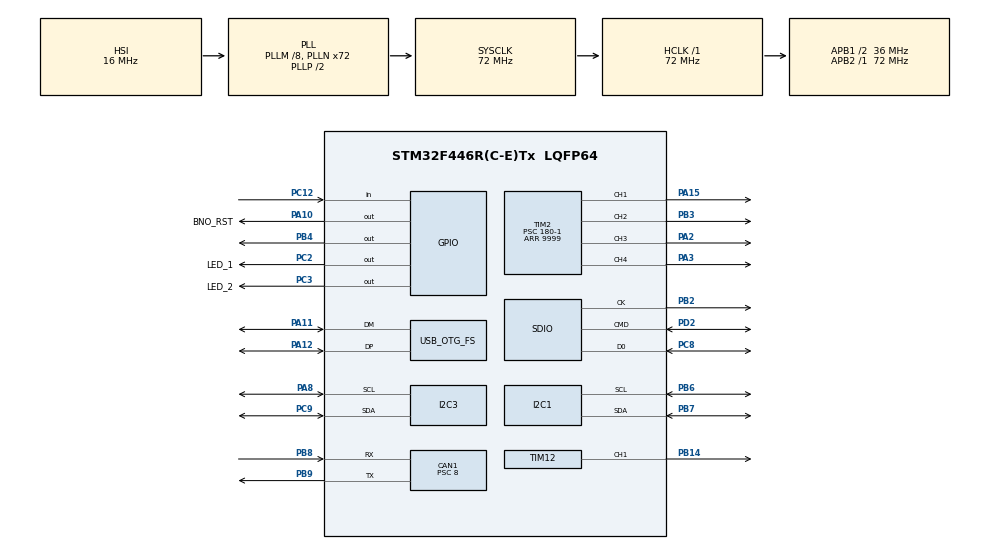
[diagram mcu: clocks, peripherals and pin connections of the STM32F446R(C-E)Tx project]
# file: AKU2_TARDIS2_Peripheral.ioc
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CAN1.BS2=CAN_BS2_7TQ
CAN1.CalculateBaudRate=500000
CAN1.CalculateTimeBit=2000
CAN1.CalculateTimeQuantum=222.22222222222223
CAN1.Mode=CAN_MODE_NORMAL
CAN1.Prescaler=8
Dma.Request0=SDIO_RX
Dma.Request1=SDIO_TX
Dma.SDIO_RX.0.Direction=DMA_PERIPH_TO_MEMORY
Dma.SDIO_RX.0.FIFOMode=DMA_FIFOMODE_ENABLE
Dma.SDIO_RX.0.FIFOThreshold=DMA_FIFO_THRESHOLD_FULL
Dma.SDIO_RX.0.Instance=DMA2_Stream3
Dma.SDIO_RX.0.MemBurst=DMA_MBURST_INC4
Dma.SDIO_RX.0.MemDataAlignment=DMA_MDATAALIGN_WORD
Dma.SDIO_RX.0.MemInc=DMA_MINC_ENABLE
Dma.SDIO_RX.0.Mode=DMA_PFCTRL
Dma.SDIO_RX.0.PeriphBurst=DMA_PBURST_INC4
Dma.SDIO_RX.0.PeriphDataAlignment=DMA_PDATAALIGN_WORD
Dma.SDIO_RX.0.PeriphInc=DMA_PINC_DISABLE
Dma.SDIO_RX.0.Priority=DMA_PRIORITY_HIGH
Dma.SDIO_TX.1.Direction=DMA_MEMORY_TO_PERIPH
Dma.SDIO_TX.1.FIFOMode=DMA_FIFOMODE_ENABLE
Dma.SDIO_TX.1.FIFOThreshold=DMA_FIFO_THRESHOLD_FULL
Dma.SDIO_TX.1.Instance=DMA2_Stream6
Dma.SDIO_TX.1.MemBurst=DMA_MBURST_INC4
Dma.SDIO_TX.1.MemDataAlignment=DMA_MDATAALIGN_WORD
Dma.SDIO_TX.1.MemInc=DMA_MINC_ENABLE
Dma.SDIO_TX.1.Mode=DMA_PFCTRL
Dma.SDIO_TX.1.PeriphBurst=DMA_PBURST_INC4
Dma.SDIO_TX.1.PeriphDataAlignment=DMA_PDATAALIGN_WORD
Dma.SDIO_TX.1.PeriphInc=DMA_PINC_DISABLE
Dma.SDIO_TX.1.Priority=DMA_PRIORITY_HIGH
FATFS.BSP.number=1
FATFS._MAX_SS=4096
FATFS._USE_LFN=2
FATFS0.BSP.STBoard=false
FATFS0.BSP.api=Unknown
FATFS0.BSP.instance=PC12
FATFS0.BSP.ip=GPIO
FATFS0.BSP.mode=Input
FATFS0.BSP.name=Detect_SDIO
FATFS0.BSP.solution=PC12
FREERTOS.Tasks01=Data_Read_Task,2,512,Data_Read_Task_Entry,Default,NULL,Dynamic,NULL,NULL;Led_Task,-2,512,Led_Task_Entry,Default,NULL,Dynamic,NULL,NULL;USB_Task,0,512,USB_Task_Entry,Default,NULL,Dynamic,NULL,NULL;Servo_Control_T,2,128,Servo_Control_Task_Entry,Default,NULL,Dynamic,NULL,NULL;Buzzer_Task,-3,128,Buzzer_Task_Entry,Default,NULL,Dynamic,NULL,NULL;Data_Log_Task,0,2048,Data_Log_Task_Entry,Default,NULL,Dynamic,NULL,NULL
FREERTOS.configTOTAL_HEAP_SIZE=30000
FREERTOS.configUSE_NEWLIB_REENTRANT=1
Mcu.Family=STM32F4
Mcu.Name=STM32F446R(C-E)Tx
Mcu.Package=LQFP64
NVIC.CAN1_RX0_IRQn=true\:5\:0\:false\:false\:true\:true\:true\:true\:true
NVIC.CAN1_RX1_IRQn=true\:5\:0\:false\:false\:true\:true\:true\:true\:true
NVIC.CAN1_SCE_IRQn=true\:5\:0\:false\:false\:true\:true\:true\:true\:true
NVIC.CAN1_TX_IRQn=true\:5\:0\:false\:false\:true\:true\:true\:true\:true
NVIC.DMA2_Stream3_IRQn=true\:5\:0\:false\:false\:true\:true\:false\:true\:true
NVIC.DMA2_Stream6_IRQn=true\:5\:0\:false\:false\:true\:true\:false\:true\:true
NVIC.OTG_FS_IRQn=true\:5\:0\:false\:false\:true\:true\:false\:true\:true
NVIC.PriorityGroup=NVIC_PRIORITYGROUP_4
NVIC.SDIO_IRQn=true\:5\:0\:false\:false\:true\:true\:true\:true\:true
NVIC.TIM1_UP_TIM10_IRQn=true\:15\:0\:false\:false\:true\:false\:false\:true\:true
NVIC.TimeBase=TIM1_UP_TIM10_IRQn
NVIC.TimeBaseIP=TIM1
PA10.GPIO_Label=BNO_RST
PA10.GPIO_PuPd=GPIO_PULLUP
PA10.PinState=GPIO_PIN_RESET
PA10.Signal=GPIO_Output
PA11.Mode=Device_Only
PA11.Signal=USB_OTG_FS_DM
PA12.Mode=Device_Only
PA12.Signal=USB_OTG_FS_DP
PA13.GPIO_Label=TMS
PA13.Mode=Serial_Wire
PA13.Signal=SYS_JTMS-SWDIO
PA14.GPIO_Label=TCK
PA14.Mode=Serial_Wire
PA14.Signal=SYS_JTCK-SWCLK
PA15.Signal=S_TIM2_CH1_ETR
PA2.Signal=S_TIM2_CH3
PA3.Signal=S_TIM2_CH4
PA8.Mode=I2C
PA8.Signal=I2C3_SCL
PB14.Signal=S_TIM12_CH1
PB2.Mode=SD_1_bit
PB2.Signal=SDIO_CK
PB3.Signal=S_TIM2_CH2
PB4.Signal=GPIO_Output
PB6.Mode=I2C
PB6.Signal=I2C1_SCL
PB7.Mode=I2C
PB7.Signal=I2C1_SDA
PB8.Mode=CAN_Activate
PB8.Signal=CAN1_RX
PB9.Mode=CAN_Activate
PB9.Signal=CAN1_TX
PC12.GPIO_PuPd=GPIO_PULLDOWN
PC12.Signal=GPIO_Input
PC2.GPIO_Label=LED_1
PC2.Signal=GPIO_Output
PC3.GPIO_Label=LED_2
PC3.Signal=GPIO_Output
PC8.Mode=SD_1_bit
PC8.Signal=SDIO_D0
PC9.Mode=I2C
PC9.Signal=I2C3_SDA
PD2.Mode=SD_1_bit
PD2.Signal=SDIO_CMD
ProjectManager.HeapSize=0x200
ProjectManager.StackSize=0x400
ProjectManager.TargetToolchain=STM32CubeIDE
RCC.48MHZClocksFreq_Value=84000000
RCC.AHBFreq_Value=72000000
RCC.APB1CLKDivider=RCC_HCLK_DIV2
RCC.APB1Freq_Value=36000000
RCC.APB1TimFreq_Value=72000000
RCC.APB2Freq_Value=72000000
RCC.APB2TimFreq_Value=72000000
RCC.CortexFreq_Value=72000000
RCC.FLatency-AdvancedSettings=FLASH_LATENCY_2
RCC.HCLKFreq_Value=72000000
RCC.HSE_VALUE=8000000
RCC.HSI_VALUE=16000000
RCC.PLLM=8
RCC.PLLN=72
RCC.PLLQ=3
RCC.PLLSource=RCC_PLLSOURCE_HSI
RCC.PLLSourceVirtual=RCC_PLLSOURCE_HSI
RCC.SYSCLKFreq_VALUE=72000000
RCC.SYSCLKSource=RCC_SYSCLKSOURCE_PLLCLK
RCC.USBFreq_Value=48000000
RCC.VCOOutputFreq_Value=144000000
SDIO.ClockDiv=4
SH.S_TIM12_CH1.0=TIM12_CH1,PWM Generation1 CH1
SH.S_TIM2_CH1_ETR.0=TIM2_CH1,PWM Generation1 CH1
SH.S_TIM2_CH2.0=TIM2_CH2,PWM Generation2 CH2
SH.S_TIM2_CH3.0=TIM2_CH3,PWM Generation3 CH3
SH.S_TIM2_CH4.0=TIM2_CH4,PWM Generation4 CH4
TIM12.Channel-PWM\ Generation1\ CH1=TIM_CHANNEL_1
TIM12.Period=9999
TIM12.Prescaler=180-1
TIM2.Channel-PWM\ Generation1\ CH1=TIM_CHANNEL_1
TIM2.Channel-PWM\ Generation2\ CH2=TIM_CHANNEL_2
TIM2.Channel-PWM\ Generation3\ CH3=TIM_CHANNEL_3
TIM2.Channel-PWM\ Generation4\ CH4=TIM_CHANNEL_4
TIM2.Period=9999
TIM2.Prescaler=180-1
USB_DEVICE.CLASS_NAME_FS=CDC
USB_DEVICE.PRODUCT_STRING_CDC_FS=STM32 Port
USB_DEVICE.VirtualMode-CDC_FS=Cdc
USB_DEVICE.VirtualModeFS=Cdc_FS
USB_OTG_FS.VirtualMode=Device_Only
VP_FATFS_VS_SDIO.Mode=SDIO
VP_FREERTOS_VS_CMSIS_V1.Mode=CMSIS_V1
VP_SYS_VS_tim1.Mode=TIM1
VP_USB_DEVICE_VS_USB_DEVICE_CDC_FS.Mode=CDC_FS
board=NUCLEO-F446RE

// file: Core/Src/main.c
/* USER CODE BEGIN Header */
/**
  ******************************************************************************
  * @file           : main.c
  * @brief          : Main program body
  ******************************************************************************
  * @attention
  *
  * Copyright (c) 2024 STMicroelectronics.
  * All rights reserved.
  *
  * This software is licensed under terms that can be found in the LICENSE file
  * in the root directory of this software component.
  * If no LICENSE file comes with this software, it is provided AS-IS.
  *
  ******************************************************************************
  */
/* USER CODE END Header */
#include "main.h"
#include "cmsis_os.h"
#include "can.h"
#include "dma.h"
#include "fatfs.h"
#include "i2c.h"
#include "sdio.h"
#include "tim.h"
#include "usb_device.h"
#include "gpio.h"

void SystemClock_Config(void);
void MX_FREERTOS_Init(void);

int main(void)
{

  /* MCU Configuration--------------------------------------------------------*/

  /* Reset of all peripherals, Initializes the Flash interface and the Systick. */
  HAL_Init();

  /* Configure the system clock */
  SystemClock_Config();

  /* Initialize all configured peripherals */
  MX_GPIO_Init();
  MX_DMA_Init();
  MX_I2C1_Init();
  MX_I2C3_Init();
  MX_SDIO_SD_Init();
  MX_FATFS_Init();
  MX_TIM2_Init();
  MX_TIM12_Init();
  MX_CAN1_Init();

  /* Call init function for freertos objects (in cmsis_os2.c) */
  MX_FREERTOS_Init();

  /* Start scheduler */
  osKernelStart();

  /* We should never get here as control is now taken by the scheduler */

  /* Infinite loop */
  while (1)
  {

  }
}

void SystemClock_Config(void)
{
  RCC_OscInitTypeDef RCC_OscInitStruct = {0};
  RCC_ClkInitTypeDef RCC_ClkInitStruct = {0};

  /** Configure the main internal regulator output voltage
  */
  __HAL_RCC_PWR_CLK_ENABLE();
  __HAL_PWR_VOLTAGESCALING_CONFIG(PWR_REGULATOR_VOLTAGE_SCALE3);

  /** Initializes the RCC Oscillators according to the specified parameters
  * in the RCC_OscInitTypeDef structure.
  */
  RCC_OscInitStruct.OscillatorType = RCC_OSCILLATORTYPE_HSI;
  RCC_OscInitStruct.HSIState = RCC_HSI_ON;
  RCC_OscInitStruct.HSICalibrationValue = RCC_HSICALIBRATION_DEFAULT;
  RCC_OscInitStruct.PLL.PLLState = RCC_PLL_ON;
  RCC_OscInitStruct.PLL.PLLSource = RCC_PLLSOURCE_HSI;
  RCC_OscInitStruct.PLL.PLLM = 8;
  RCC_OscInitStruct.PLL.PLLN = 72;
  RCC_OscInitStruct.PLL.PLLP = RCC_PLLP_DIV2;
  RCC_OscInitStruct.PLL.PLLQ = 3;
  RCC_OscInitStruct.PLL.PLLR = 2;
  if (HAL_RCC_OscConfig(&RCC_OscInitStruct) != HAL_OK)
  {
    Error_Handler();
  }

  /** Initializes the CPU, AHB and APB buses clocks
  */
  RCC_ClkInitStruct.ClockType = RCC_CLOCKTYPE_HCLK|RCC_CLOCKTYPE_SYSCLK
                              |RCC_CLOCKTYPE_PCLK1|RCC_CLOCKTYPE_PCLK2;
  RCC_ClkInitStruct.SYSCLKSource = RCC_SYSCLKSOURCE_PLLCLK;
  RCC_ClkInitStruct.AHBCLKDivider = RCC_SYSCLK_DIV1;
  RCC_ClkInitStruct.APB1CLKDivider = RCC_HCLK_DIV2;
  RCC_ClkInitStruct.APB2CLKDivider = RCC_HCLK_DIV1;

  if (HAL_RCC_ClockConfig(&RCC_ClkInitStruct, FLASH_LATENCY_2) != HAL_OK)
  {
    Error_Handler();
  }
}

void HAL_TIM_PeriodElapsedCallback(TIM_HandleTypeDef *htim)
{
  if (htim->Instance == TIM1) {
    HAL_IncTick();
  }
}

void Error_Handler(void)
{
  __disable_irq();
  while (1)
  {
  }
}

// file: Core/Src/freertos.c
/* USER CODE BEGIN Header */
/**
  ******************************************************************************
  * File Name          : freertos.c
  * Description        : Code for freertos applications
  ******************************************************************************
  * @attention
  *
  * Copyright (c) 2024 STMicroelectronics.
  * All rights reserved.
  *
  * This software is licensed under terms that can be found in the LICENSE file
  * in the root directory of this software component.
  * If no LICENSE file comes with this software, it is provided AS-IS.
  *
  ******************************************************************************
  */
/* USER CODE END Header */

#include "FreeRTOS.h"
#include "task.h"
#include "main.h"
#include "cmsis_os.h"

/* USER CODE BEGIN Includes */
#include "aku_infra_barometer.h"
#include "aku_infra_imu.h"
#include "aku_infra_data.h"
#include "aku_structure.h"
#include "aku_infra_motor.h"
#include "aku_controller.h"
#include "aku_infrastructure.h"

#include "usbd_cdc_if.h"
#include "string.h"
/* USER CODE END Includes */

/* USER CODE BEGIN Variables */
Altitude* altitude_ptr;
IMU* imu_ptr;
ServoAngle *srv_angle_ptr;
/* USER CODE END Variables */
osThreadId Data_Read_TaskHandle;
osThreadId Led_TaskHandle;
osThreadId USB_TaskHandle;
osThreadId Servo_Control_THandle;
osThreadId Buzzer_TaskHandle;
osThreadId Data_Log_TaskHandle;

void Data_Read_Task_Entry(void const * argument);
void Led_Task_Entry(void const * argument);
void USB_Task_Entry(void const * argument);
void Servo_Control_Task_Entry(void const * argument);
void Buzzer_Task_Entry(void const * argument);
void Data_Log_Task_Entry(void const * argument);

extern void MX_USB_DEVICE_Init(void);
void MX_FREERTOS_Init(void); /* (MISRA C 2004 rule 8.1) */

/* GetIdleTaskMemory prototype (linked to static allocation support) */
void vApplicationGetIdleTaskMemory( StaticTask_t **ppxIdleTaskTCBBuffer, StackType_t **ppxIdleTaskStackBuffer, uint32_t *pulIdleTaskStackSize );

/* USER CODE BEGIN GET_IDLE_TASK_MEMORY */
static StaticTask_t xIdleTaskTCBBuffer;
static StackType_t xIdleStack[configMINIMAL_STACK_SIZE];

void vApplicationGetIdleTaskMemory( StaticTask_t **ppxIdleTaskTCBBuffer, StackType_t **ppxIdleTaskStackBuffer, uint32_t *pulIdleTaskStackSize )
{
  *ppxIdleTaskTCBBuffer = &xIdleTaskTCBBuffer;
  *ppxIdleTaskStackBuffer = &xIdleStack[0];
  *pulIdleTaskStackSize = configMINIMAL_STACK_SIZE;
  /* place for user code */
}
/* USER CODE END GET_IDLE_TASK_MEMORY */

void MX_FREERTOS_Init(void) {

  /* Create the thread(s) */
  /* definition and creation of Data_Read_Task */
  osThreadDef(Data_Read_Task, Data_Read_Task_Entry, osPriorityHigh, 0, 512);
  Data_Read_TaskHandle = osThreadCreate(osThread(Data_Read_Task), NULL);

  /* definition and creation of Led_Task */
  osThreadDef(Led_Task, Led_Task_Entry, osPriorityLow, 0, 512);
  Led_TaskHandle = osThreadCreate(osThread(Led_Task), NULL);

  /* definition and creation of USB_Task */
  osThreadDef(USB_Task, USB_Task_Entry, osPriorityNormal, 0, 512);
  USB_TaskHandle = osThreadCreate(osThread(USB_Task), NULL);

  /* definition and creation of Servo_Control_T */
  osThreadDef(Servo_Control_T, Servo_Control_Task_Entry, osPriorityHigh, 0, 128);
  Servo_Control_THandle = osThreadCreate(osThread(Servo_Control_T), NULL);

  /* definition and creation of Buzzer_Task */
  osThreadDef(Buzzer_Task, Buzzer_Task_Entry, osPriorityIdle, 0, 128);
  Buzzer_TaskHandle = osThreadCreate(osThread(Buzzer_Task), NULL);

  /* definition and creation of Data_Log_Task */
  osThreadDef(Data_Log_Task, Data_Log_Task_Entry, osPriorityNormal, 0, 2048);
  Data_Log_TaskHandle = osThreadCreate(osThread(Data_Log_Task), NULL);

}

void Data_Read_Task_Entry(void const * argument)
{
  /* init code for USB_DEVICE */
  MX_USB_DEVICE_Init();
  /* USER CODE BEGIN Data_Read_Task_Entry */
  init_Barometer();
  init_IMU();
  init_Servo();
  /* Infinite loop */
  for(;;)
  {
	imu_ptr = read_IMU();
	altitude_ptr = read_Barometer();
	srv_angle_ptr = servo_control(imu_ptr);
    osDelay(1);
  }
  /* USER CODE END Data_Read_Task_Entry */
}

void Led_Task_Entry(void const * argument)
{
  /* USER CODE BEGIN Led_Task_Entry */
  /* Infinite loop */
  for(;;)
  {
	  led_blink_OK();
    osDelay(1);
  }
  /* USER CODE END Led_Task_Entry */
}

void USB_Task_Entry(void const * argument)
{
  /* USER CODE BEGIN USB_Task_Entry */
  /* Infinite loop */
  for(;;)
  {
	  get_data(imu_ptr, altitude_ptr, srv_angle_ptr);

	  	transmit_usb_data_eulerNservo();

    osDelay(1);
  }
  /* USER CODE END USB_Task_Entry */
}

void Servo_Control_Task_Entry(void const * argument)
{
  /* USER CODE BEGIN Servo_Control_Task_Entry */
	init_Servo();
  /* Infinite loop */
  for(;;)
  {
	  srv_angle_ptr = servo_control(imu_ptr);
    osDelay(1);
  }
  /* USER CODE END Servo_Control_Task_Entry */
}

void Buzzer_Task_Entry(void const * argument)
{
  /* USER CODE BEGIN Buzzer_Task_Entry */
	init_CAN();
  /* Infinite loop */
  for(;;)
  {
	  activate_CAN();
	  //buzzer_OK();
    osDelay(100);
  }
  /* USER CODE END Buzzer_Task_Entry */
}

void Data_Log_Task_Entry(void const * argument)
{
  /* USER CODE BEGIN Data_Log_Task_Entry */
	init_SD();
  /* Infinite loop */
  for(;;)
  {
	  write_SD();
    osDelay(1);
  }
  /* USER CODE END Data_Log_Task_Entry */
}
